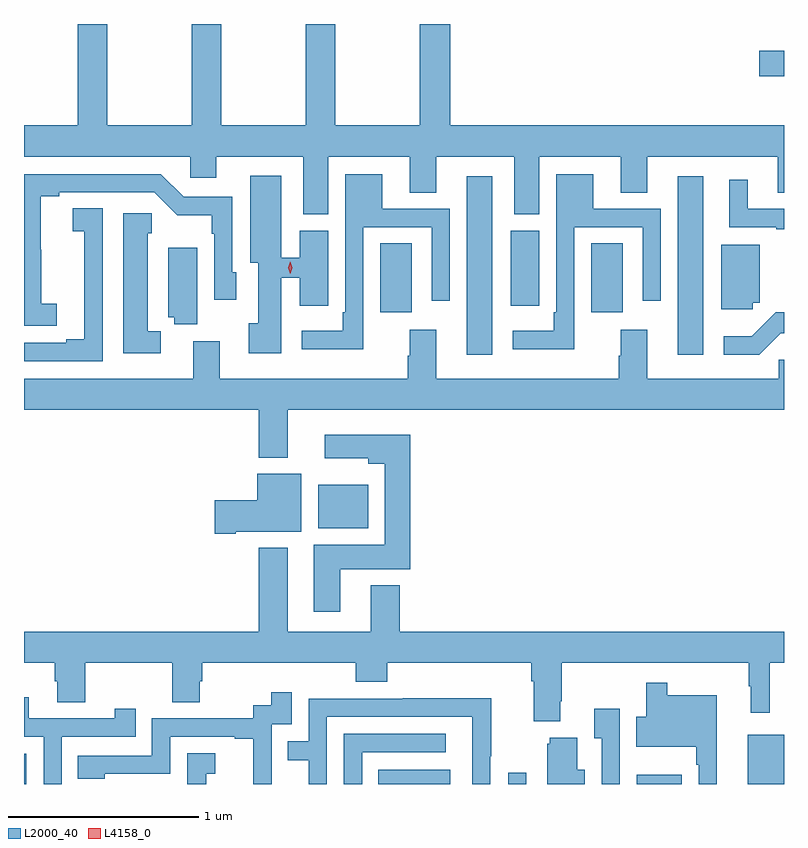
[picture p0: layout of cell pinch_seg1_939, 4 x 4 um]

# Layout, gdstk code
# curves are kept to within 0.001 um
import gdstk
lib = gdstk.Library(unit=1e-6, precision=1e-09)
def R(c, l, rs):  # rectangles x0, y0, x1, y1
    for r in rs: c.add(gdstk.rectangle(r[:2], r[2:], *l))
def P(c, l, *ps):  # polygons
    for p in ps: c.add(gdstk.Polygon(p, *l))
L2000_40 = (2000, 40)
L4158_0 = (4158, 0)

pinch_seg1_939 = lib.new_cell('pinch_seg1_939')
R(pinch_seg1_939, L2000_40, [(142.151,513.798,142.164,513.957), (144.016,513.798,144.394,513.874), (144.699,513.798,144.795,513.856), (145.376,513.798,145.612,513.847), (145.961,513.798,146.151,514.057), (143.699,515.144,143.962,515.374), (144.482,516.057,144.616,516.996), (145.592,516.057,145.726,516.996), (144.026,516.282,144.193,516.644), (145.136,516.282,145.303,516.644), (144.713,516.315,144.862,516.711), (146.022,517.523,146.151,517.658)])
P(pinch_seg1_939, L2000_40, [(143.752,517.1),(144.182,517.1),(144.182,516.91),(144.322,516.91),(144.322,517.1),(144.731,517.1),(144.731,516.796),(144.862,516.796),(144.862,517.1),(145.292,517.1),(145.292,516.91),(145.432,516.91),(145.432,517.1),(146.117,517.1),(146.117,516.91),(146.151,516.91),(146.151,517.264),(144.395,517.264),(144.395,517.798),(144.235,517.798),(144.235,517.264),(143.79,517.264),(143.79,517.798),(143.635,517.798),(143.635,517.264),(143.19,517.264),(143.19,517.798),(143.035,517.798),(143.035,517.264),(142.59,517.264),(142.59,517.798),(142.435,517.798),(142.435,517.264),(142.151,517.264),(142.151,517.1),(143.025,517.1),(143.025,516.99),(143.164,516.99),(143.164,517.1),(143.621,517.1),(143.621,516.796),(143.752,516.796)],
  [(142.324,516.326),(142.242,516.326),(142.24,516.892),(142.336,516.892),(142.336,516.912),(142.836,516.912),(142.957,516.791),(143.139,516.791),(143.139,516.695),(143.151,516.695),(143.151,516.347),(143.268,516.347),(143.268,516.492),(143.247,516.492),(143.247,516.888),(142.992,516.888),(142.872,517.008),(142.151,517.008),(142.151,516.211),(142.324,516.211)],
  [(145.047,516.729),(145.407,516.729),(145.407,516.342),(145.503,516.342),(145.503,516.825),(145.147,516.825),(145.147,517.006),(144.951,517.006),(144.951,516.28),(144.939,516.28),(144.939,516.184),(144.723,516.184),(144.723,516.086),(145.047,516.086)],
  [(143.937,516.729),(144.297,516.729),(144.297,516.342),(144.393,516.342),(144.393,516.825),(144.037,516.825),(144.037,517.006),(143.841,517.006),(143.841,516.28),(143.829,516.28),(143.829,516.184),(143.613,516.184),(143.613,516.086),(143.937,516.086)],
  [(143.506,516.463),(143.603,516.463),(143.603,516.315),(143.752,516.315),(143.752,516.711),(143.603,516.711),(143.603,516.567),(143.506,516.567),(143.506,517),(143.342,517),(143.342,516.542),(143.384,516.542),(143.384,516.222),(143.334,516.222),(143.334,516.066),(143.506,516.066)],
  [(146.151,516.825),(145.96,516.825),(145.96,516.979),(145.862,516.979),(145.862,516.729),(146.111,516.729),(146.111,516.717),(146.151,516.717)],
  [(142.566,516.827),(142.407,516.827),(142.407,516.707),(142.468,516.707),(142.468,516.403),(142.469,516.403),(142.469,516.14),(142.373,516.14),(142.373,516.12),(142.151,516.12),(142.151,516.024),(142.566,516.024)],
  [(142.87,516.18),(142.801,516.18),(142.801,516.696),(142.823,516.696),(142.823,516.802),(142.673,516.802),(142.673,516.065),(142.87,516.065)],
  [(145.986,516.332),(146.023,516.332),(146.023,516.637),(145.82,516.637),(145.82,516.296),(145.986,516.296)],
  [(143.062,516.621),(142.91,516.621),(142.91,516.254),(142.942,516.254),(142.942,516.217),(143.062,516.217)],
  [(146.135,516.17),(146.151,516.17),(146.151,516.28),(146.107,516.28),(145.981,516.154),(145.833,516.154),(145.833,516.057),(146.022,516.057)],
  [(143.539,515.768),(146.151,515.768),(146.151,516.03),(146.124,516.03),(146.124,515.932),(145.432,515.932),(145.432,516.19),(145.292,516.19),(145.292,516.053),(145.28,516.053),(145.28,515.932),(144.322,515.932),(144.322,516.19),(144.182,516.19),(144.182,516.053),(144.17,516.053),(144.17,515.932),(143.182,515.932),(143.182,516.127),(143.042,516.127),(143.042,515.932),(142.151,515.932),(142.151,515.768),(143.387,515.768),(143.387,515.516),(143.539,515.516)],
  [(143.815,514.928),(144.185,514.928),(144.185,515.635),(143.733,515.635),(143.733,515.513),(143.963,515.513),(143.963,515.483),(144.05,515.483),(144.05,515.056),(143.675,515.056),(143.675,514.704),(143.815,514.704)],
  [(143.266,515.126),(143.611,515.126),(143.611,515.431),(143.378,515.431),(143.378,515.292),(143.154,515.292),(143.154,515.114),(143.266,515.114)],
  [(144.973,514.234),(144.981,514.234),(144.981,514.436),(145.965,514.436),(145.965,514.313),(145.976,514.313),(145.976,514.173),(146.076,514.173),(146.076,514.436),(146.151,514.436),(146.151,514.6),(144.128,514.6),(144.128,514.843),(143.975,514.843),(143.975,514.6),(143.539,514.6),(143.539,515.041),(143.387,515.041),(143.387,514.6),(142.151,514.6),(142.151,514.436),(142.313,514.436),(142.313,514.338),(142.325,514.338),(142.325,514.228),(142.473,514.228),(142.473,514.436),(142.93,514.436),(142.93,514.228),(143.077,514.228),(143.077,514.338),(143.09,514.338),(143.09,514.436),(143.897,514.436),(143.897,514.337),(144.062,514.337),(144.062,514.436),(144.821,514.436),(144.821,514.34),(144.833,514.34),(144.833,514.127),(144.973,514.127)],
  [(145.798,514.264),(145.537,514.264),(145.537,514.33),(145.427,514.33),(145.427,514.153),(145.374,514.153),(145.374,513.995),(145.689,513.995),(145.689,513.899),(145.701,513.899),(145.701,513.798),(145.798,513.798)],
  [(143.456,513.884),(143.454,513.884),(143.454,514.113),(143.559,514.113),(143.559,514.282),(143.451,514.282),(143.451,514.212),(143.358,514.212),(143.358,514.143),(142.824,514.143),(142.824,513.948),(142.435,513.948),(142.435,513.825),(142.575,513.825),(142.575,513.852),(142.92,513.852),(142.92,514.047),(143.261,514.047),(143.261,514.035),(143.357,514.035),(143.357,513.798),(143.456,513.798)],
  [(142.35,514.047),(142.739,514.047),(142.739,514.195),(142.628,514.195),(142.628,514.143),(142.177,514.143),(142.177,514.255),(142.151,514.255),(142.151,514.047),(142.254,514.047),(142.254,513.798),(142.35,513.798)],
  [(143.745,514.152),(144.51,514.152),(144.51,513.798),(144.606,513.798),(144.606,513.943),(144.609,513.943),(144.609,514.25),(144.145,514.25),(144.145,514.248),(143.649,514.248),(143.649,514.023),(143.539,514.023),(143.539,513.922),(143.649,513.922),(143.649,513.798),(143.745,513.798)],
  [(145.287,514.195),(145.151,514.195),(145.151,514.039),(145.191,514.039),(145.191,513.798),(145.287,513.798)],
  [(143.931,513.966),(144.37,513.966),(144.37,514.062),(143.835,514.062),(143.835,513.798),(143.931,513.798)],
  [(145.102,513.874),(145.063,513.874),(145.063,514.042),(144.917,514.042),(144.917,514.011),(144.905,514.011),(144.905,513.798),(145.102,513.798)],
  [(143.109,513.851),(143.158,513.851),(143.158,513.961),(143.01,513.961),(143.01,513.798),(143.109,513.798)])
P(pinch_seg1_939, L4158_0, [(143.553,516.484),(143.553,516.484),(143.543,516.515),(143.553,516.546),(143.553,516.547),(143.553,516.546),(143.563,516.515),(143.553,516.484)])

lib.write_gds('pinch_seg1_939.gds')
